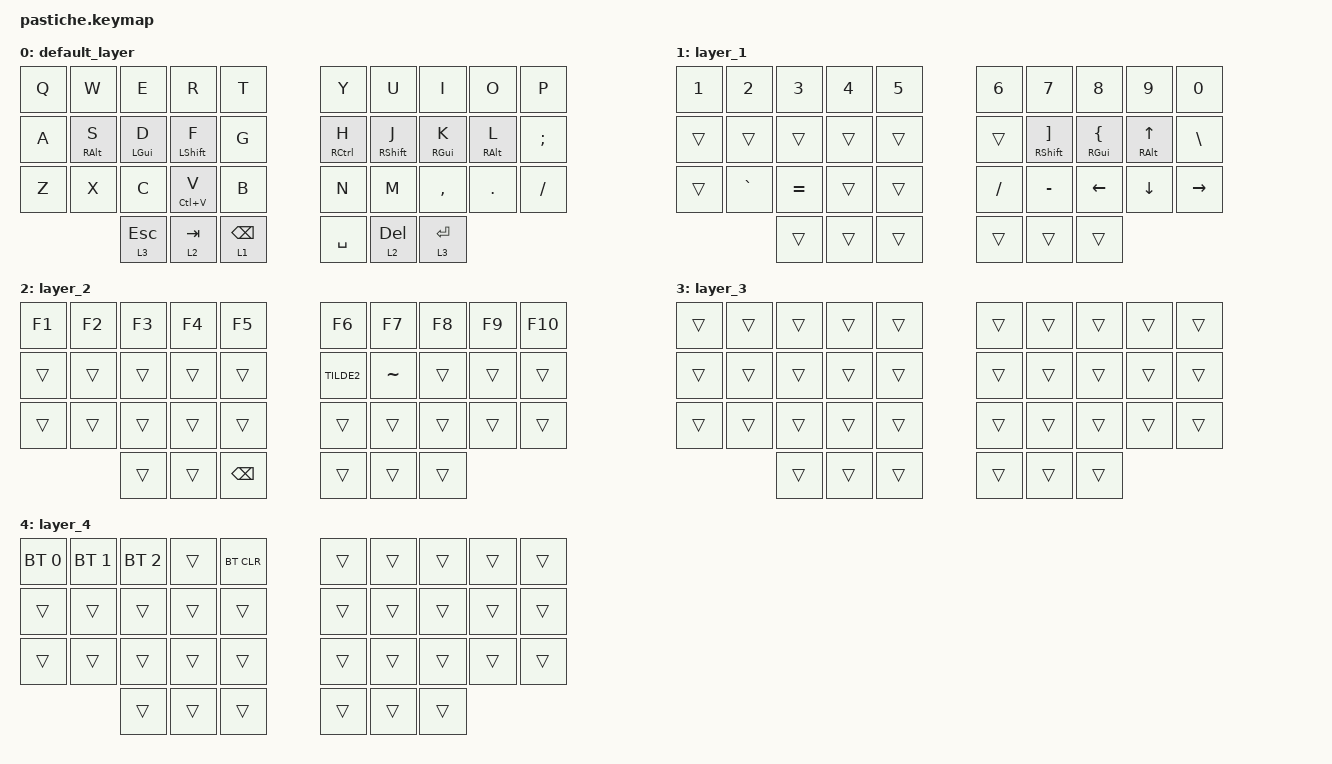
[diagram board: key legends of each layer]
#include <behaviors.dtsi>
#include <dt-bindings/zmk/bt.h>
#include <dt-bindings/zmk/keys.h>

/ {
    combos {
        compatible = "zmk,combos";

        bt-toggle {
            bindings = <&tog 4>;
            key-positions = <30 35>;
        };
    };

    behaviors {
        hml: hml {
            compatible = "zmk,behavior-hold-tap";
            label = "Homerow Left";
            bindings = <&kp>, <&kp>;

            #binding-cells = <2>;
            tapping-term-ms = <180>;
            quick-tap-ms = <175>;
            require-prior-idle-ms = <150>;
            flavor = "balanced";
            hold-trigger-key-positions = <5 6 7 8 9 15 16 17 18 19 25 26 27 28 29>;
            hold-trigger-on-release;
        };

        hmr: hmr {
            compatible = "zmk,behavior-hold-tap";
            label = "Homerow Right";
            bindings = <&kp>, <&kp>;

            #binding-cells = <2>;
            tapping-term-ms = <180>;
            quick-tap-ms = <175>;
            require-prior-idle-ms = <150>;
            flavor = "balanced";
            hold-trigger-key-positions = <0 1 2 3 4 10 11 12 13 14 20 21 22 23 24>;
            hold-trigger-on-release;
        };
    };

    keymap {
        compatible = "zmk,keymap";

        default_layer {
            // -----------------------------------------------------------------------------------------
            // |  TAB |  Q  |  W  |  E  |  R  |  T  |   |  Y  |  U   |  I  |  O  |  P  | BKSP |
            // | CTRL |  A  |  S  |  D  |  F  |  G  |   |  H  |  J   |  K  |  L  |  ;  |  '   |
            // | SHFT |  Z  |  X  |  C  |  V  |  B  |   |  N  |  M   |  ,  |  .  |  /  | ESC  |
            //                    | GUI | LWR | SPC |   | ENT | RSE  | ALT |

            bindings = <
&kp Q  &kp W             &kp E            &kp R              &kp T      &kp Y            &kp U               &kp I             &kp O             &kp P
&kp A  &hml RIGHT_ALT S  &hml LEFT_GUI D  &hml LEFT_SHIFT F  &kp G      &hmr RCTRL H     &hmr RIGHT_SHIFT J  &hmr RIGHT_GUI K  &hmr RIGHT_ALT L  &kp SEMI
&kp Z  &kp X             &kp C            &hml LC(V) V       &kp B      &kp N            &kp M               &kp COMMA         &kp DOT           &kp FSLH
                                          &lt 3 ESCAPE       &lt 2 TAB  &lt 1 BACKSPACE                      &kp SPACE         &lt 2 DEL         &lt 3 RET
            >;
        };

        layer_1 {
            bindings = <
&kp NUMBER_1  &kp NUMBER_2  &kp NUMBER_3  &kp NUMBER_4  &kp NUMBER_5  &kp NUMBER_6  &kp NUMBER_7                    &kp N8                     &kp N9                   &kp NUMBER_0
&trans        &trans        &trans        &trans        &trans        &trans        &hmr RIGHT_SHIFT RIGHT_BRACKET  &hmr RIGHT_GUI LEFT_BRACE  &hmr RIGHT_ALT UP_ARROW  &kp BACKSLASH
&trans        &kp GRAVE     &kp EQUAL     &trans        &trans        &kp SLASH     &kp MINUS                       &kp LEFT                   &kp DOWN_ARROW           &kp RIGHT
                                          &trans        &trans        &trans                                        &trans                     &trans                   &trans
            >;
        };

        layer_2 {
            bindings = <
&kp F1  &kp F2  &kp F3  &kp F4  &kp F5  &kp F6         &kp F7     &kp F8  &kp F9  &kp F10
&trans  &trans  &trans  &trans  &trans  &kp TILDE2     &kp TILDE  &trans  &trans  &trans
&trans  &trans  &trans  &trans  &trans  &trans         &trans     &trans  &trans  &trans
                        &trans  &trans  &kp BACKSPACE             &trans  &trans  &trans
            >;
        };

        layer_3 {
            bindings = <
&trans  &trans  &trans  &trans  &trans  &trans  &trans  &trans  &trans  &trans
&trans  &trans  &trans  &trans  &trans  &trans  &trans  &trans  &trans  &trans
&trans  &trans  &trans  &trans  &trans  &trans  &trans  &trans  &trans  &trans
                        &trans  &trans  &trans          &trans  &trans  &trans
            >;
        };

        layer_4 {
            bindings = <
&bt BT_SEL 0  &bt BT_SEL 1  &bt BT_SEL 2  &trans  &bt BT_CLR  &trans  &trans  &trans  &trans  &trans
&trans        &trans        &trans        &trans  &trans      &trans  &trans  &trans  &trans  &trans
&trans        &trans        &trans        &trans  &trans      &trans  &trans  &trans  &trans  &trans
                                          &trans  &trans      &trans          &trans  &trans  &trans
            >;
        };
    };
};
